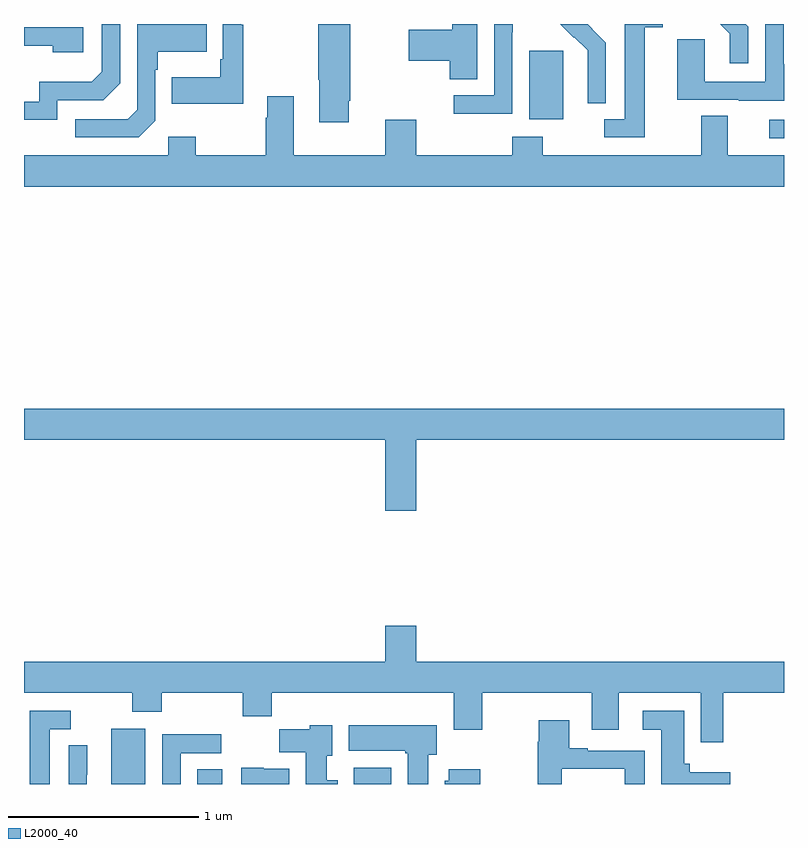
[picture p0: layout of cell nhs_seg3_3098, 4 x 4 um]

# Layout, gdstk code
import gdstk
lib = gdstk.Library(unit=1e-6, precision=1e-09)
def R(c, l, rs):  # rectangles x0, y0, x1, y1
    for r in rs: c.add(gdstk.rectangle(r[:2], r[2:], *l))
def P(c, l, *ps):  # polygons
    for p in ps: c.add(gdstk.Polygon(p, *l))
L2000_40 = (2000, 40)

nhs_seg3_3098 = lib.new_cell('nhs_seg3_3098')
R(nhs_seg3_3098, L2000_40, [(271.46,736.4,271.639,736.69), (271.913,736.4,272.044,736.478), (272.735,736.4,272.932,736.486), (274.923,739.8,275,739.896), (273.659,739.898,273.838,740.259)])
P(nhs_seg3_3098, L2000_40, [(271.692,739.89),(271.692,740.159),(271.705,740.159),(271.705,740.255),(271.961,740.255),(271.961,740.4),(271.596,740.4),(271.596,739.95),(271.545,739.899),(271.269,739.899),(271.269,739.803),(271.605,739.803)],
  [(272.155,740.395),(272.143,740.395),(272.143,740.4),(272.046,740.4),(272.046,740.215),(272.034,740.215),(272.034,740.119),(271.777,740.119),(271.777,739.979),(272.155,739.979)],
  [(272.71,739.996),(272.718,739.996),(272.718,740.4),(272.548,740.4),(272.548,740.107),(272.555,740.107),(272.555,739.884),(272.71,739.884)],
  [(271.176,739.998),(271.416,739.998),(271.506,740.088),(271.506,740.4),(271.41,740.4),(271.41,740.148),(271.357,740.095),(271.08,740.095),(271.08,739.992),(271,739.992),(271,739.896),(271.176,739.896)],
  [(274.812,740.386),(274.798,740.4),(274.664,740.4),(274.715,740.349),(274.715,740.193),(274.812,740.193)],
  [(274.267,740.384),(274.363,740.384),(274.363,740.4),(274.163,740.4),(274.163,739.899),(274.053,739.899),(274.053,739.803),(274.267,739.803)],
  [(275,740.187),(274.998,740.187),(274.998,740.4),(274.902,740.4),(274.902,740.097),(274.584,740.097),(274.584,740.321),(274.439,740.321),(274.439,740.001),(274.763,740.001),(274.763,739.997),(275,739.997)],
  [(273.385,740.4),(273.254,740.4),(273.254,740.371),(273.024,740.371),(273.024,740.206),(273.242,740.206),(273.242,740.11),(273.385,740.11)],
  [(273.57,740.356),(273.573,740.356),(273.573,740.4),(273.474,740.4),(273.474,740.025),(273.261,740.025),(273.261,739.927),(273.57,739.927)],
  [(274.062,740.302),(273.989,740.375),(273.99,740.376),(273.966,740.4),(273.822,740.4),(273.894,740.328),(273.897,740.331),(273.968,740.261),(273.968,740.138),(273.966,740.138),(273.966,739.984),(274.062,739.984)],
  [(271.312,740.382),(271,740.382),(271,740.286),(271.151,740.286),(271.151,740.252),(271.312,740.252)],
  [(275,739.708),(274.705,739.708),(274.705,739.916),(274.565,739.916),(274.565,739.708),(273.729,739.708),(273.729,739.807),(273.569,739.807),(273.569,739.708),(273.064,739.708),(273.064,739.897),(272.9,739.897),(272.9,739.708),(272.419,739.708),(272.419,740.02),(272.279,740.02),(272.279,739.907),(272.272,739.907),(272.272,739.708),(271.905,739.708),(271.905,739.807),(271.758,739.807),(271.758,739.708),(271,739.708),(271,739.544),(275,739.544)],
  [(271,738.212),(272.9,738.212),(272.9,737.838),(273.064,737.838),(273.064,738.212),(275,738.212),(275,738.376),(271,738.376)],
  [(274.679,736.88),(275,736.88),(275,737.044),(273.064,737.044),(273.064,737.233),(272.9,737.233),(272.9,737.044),(271,737.044),(271,736.88),(271.57,736.88),(271.57,736.781),(271.725,736.781),(271.725,736.88),(272.152,736.88),(272.152,736.756),(272.303,736.756),(272.303,736.88),(273.263,736.88),(273.263,736.686),(273.411,736.686),(273.411,736.88),(273.989,736.88),(273.989,736.686),(274.129,736.686),(274.129,736.88),(274.563,736.88),(274.563,736.62),(274.679,736.62)],
  [(274.717,736.462),(274.505,736.462),(274.505,736.506),(274.474,736.506),(274.474,736.786),(274.257,736.786),(274.257,736.685),(274.355,736.685),(274.355,736.4),(274.717,736.4)],
  [(271.135,736.689),(271.246,736.689),(271.246,736.785),(271.031,736.785),(271.031,736.4),(271.135,736.4)],
  [(273.829,736.479),(274.163,736.479),(274.163,736.4),(274.267,736.4),(274.267,736.575),(273.967,736.575),(273.967,736.588),(273.871,736.588),(273.871,736.735),(273.71,736.735),(273.71,736.622),(273.703,736.622),(273.703,736.4),(273.829,736.4)],
  [(273.127,736.554),(273.172,736.554),(273.172,736.708),(272.708,736.708),(272.708,736.574),(273.007,736.574),(273.007,736.561),(273.02,736.561),(273.02,736.4),(273.127,736.4)],
  [(272.65,736.42),(272.593,736.42),(272.593,736.55),(272.623,736.55),(272.623,736.708),(272.505,736.708),(272.505,736.687),(272.344,736.687),(272.344,736.568),(272.483,736.568),(272.483,736.4),(272.65,736.4)],
  [(271.824,736.563),(272.038,736.563),(272.038,736.662),(271.728,736.662),(271.728,736.4),(271.824,736.4)],
  [(271.331,736.45),(271.332,736.45),(271.332,736.604),(271.236,736.604),(271.236,736.4),(271.331,736.4)],
  [(272.395,736.48),(272.262,736.48),(272.262,736.486),(272.144,736.486),(272.144,736.4),(272.395,736.4)],
  [(273.402,736.477),(273.236,736.477),(273.236,736.416),(273.215,736.416),(273.215,736.4),(273.402,736.4)])

lib.write_gds('nhs_seg3_3098.gds')
